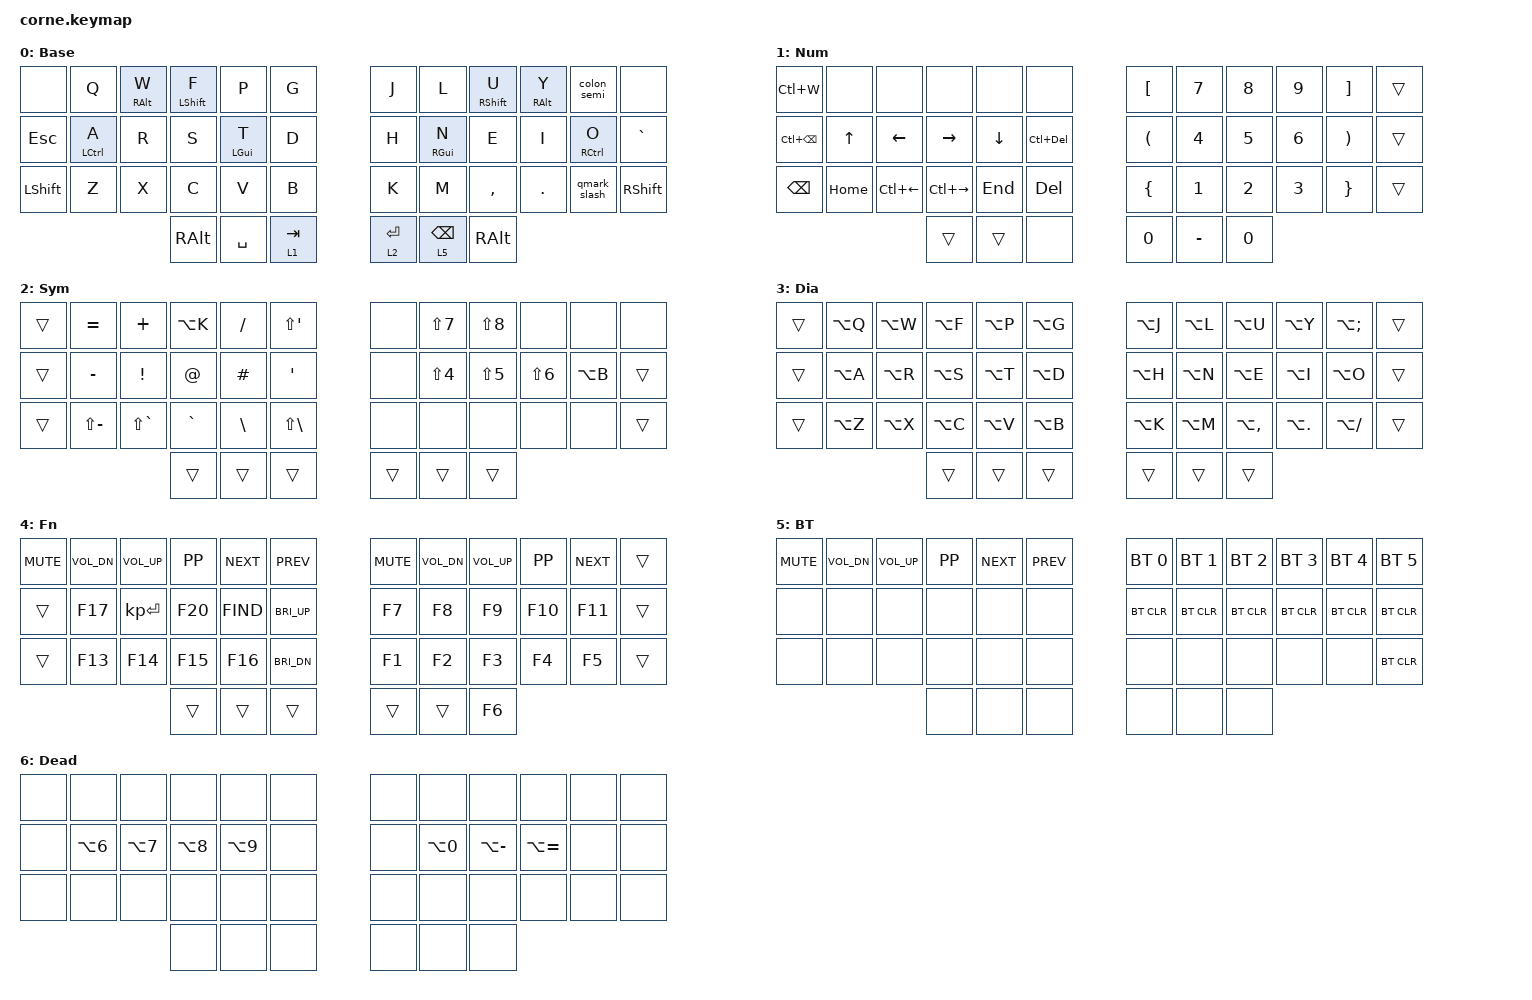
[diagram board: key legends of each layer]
/*
 * Corne Keymap v26
 * Layout: Colemak
 * Target: Android (Ctrl is primary, GUI is secondary)
 * Homerow mods: A=Ctrl, T=GUI | N=GUI, O=Ctrl
 * Top row mods: W=Alt, F=Shift | U=Shift, Y=Alt
 * Changes from v25: Moved Alt/Shift from homerow to top row
 */

#include <behaviors.dtsi>
#include <dt-bindings/zmk/keys.h>
#include <dt-bindings/zmk/bt.h>

/ {
    behaviors {
        hm: homerow_mods {
            compatible = "zmk,behavior-hold-tap";
            #binding-cells = <2>;
            tapping-term-ms = <280>;
            quick-tap-ms = <175>;
            require-prior-idle-ms = <150>;
            flavor = "tap-preferred";
            bindings = <&kp>, <&kp>;
        };

        // ? default, / with shift
        qmark_slash: qmark_slash {
            compatible = "zmk,behavior-mod-morph";
            #binding-cells = <0>;
            bindings = <&kp QMARK>, <&kp FSLH>;
            mods = <(MOD_LSFT|MOD_RSFT)>;
        };

        // : default, ; with shift
        colon_semi: colon_semi {
            compatible = "zmk,behavior-mod-morph";
            #binding-cells = <0>;
            bindings = <&kp COLON>, <&kp SEMI>;
            mods = <(MOD_LSFT|MOD_RSFT)>;
        };
    };

    combos {
        compatible = "zmk,combos";

        combo_delete {
            timeout-ms = <50>;
            key-positions = <20 14>;  // E + R (cross-hand)
            bindings = <&kp DEL>;
        };
        combo_caps_lock {
            timeout-ms = <50>;
            key-positions = <5 6>;    // G + J (inner index)
            bindings = <&kp CAPS>;
        };
        combo_bootloader {
            timeout-ms = <50>;
            key-positions = <0 11>;   // Corner keys
            bindings = <&bootloader>;
        };
        combo_caps_word {
            timeout-ms = <50>;
            key-positions = <16 19>;  // T + N (index fingers)
            bindings = <&caps_word>;
        };
    };

    keymap {
        compatible = "zmk,keymap";

        // Layer 0: Base (Colemak)
        // Homerow mods: A=Ctrl, T=GUI | N=GUI, O=Ctrl
        // Top row mods: W=Alt, F=Shift | U=Shift, Y=Alt
        base_layer {
            display-name = "Base";
            bindings = <
   &none      &kp Q  &hm RALT W  &hm LSHFT F  &kp P  &kp G      &kp J  &kp L  &hm RSHFT U  &hm RALT Y  &colon_semi  &none
   &kp ESC    &hm LCTRL A  &kp R  &kp S  &hm LGUI T  &kp D      &kp H  &hm RGUI N  &kp E  &kp I  &hm RCTRL O  &kp GRAVE
   &kp LSHFT  &kp Z  &kp X  &kp C  &kp V  &kp B      &kp K  &kp M  &kp COMMA  &kp DOT  &qmark_slash  &kp RSHFT
                     &kp RALT  &kp SPACE  &lt 1 TAB  &lt 2 RET  &lt 5 BSPC  &kp RALT
            >;
        };

        // Layer 1: Numbers + Navigation
        // Navigation uses LG for word-jumping (Cmd on macOS)
        num_layer {
            display-name = "Num";
            bindings = <
   &kp LC(W)    &none       &none        &none         &none         &none       &kp LBKT   &kp N7  &kp N8  &kp N9  &kp RBKT   &trans
   &kp LC(BSPC) &kp UP      &kp LEFT     &kp RIGHT     &kp DOWN      &kp LC(DEL) &kp LPAR   &kp N4  &kp N5  &kp N6  &kp RPAR   &trans
   &kp BSPC     &kp HOME    &kp LC(LEFT) &kp LC(RIGHT) &kp END       &kp DEL     &kp LBRC   &kp N1  &kp N2  &kp N3  &kp RBRC   &trans
                                      &trans        &trans        &none       &kp N0     &kp MINUS  &kp N0
            >;
        };

        // Layer 2: Symbols
        sym_layer {
            display-name = "Sym";
            bindings = <
   &trans  &kp EQUAL  &kp PLUS   &kp LA(K)  &kp FSLH      &kp LS(SQT)   &none     &kp LS(N7)  &kp LS(N8)  &none      &none      &none
   &trans  &kp MINUS  &kp EXCL   &kp AT     &kp HASH      &kp SQT       &none     &kp LS(N4)  &kp LS(N5)  &kp LS(N6) &kp LA(B)  &trans
   &trans  &kp LS(MINUS) &kp LS(GRAVE) &kp GRAVE &kp BSLH  &kp LS(BSLH)  &none     &none       &none       &none      &none      &trans
                                 &trans     &trans        &trans        &trans    &trans      &trans
            >;
        };

        // Layer 3: Diacritics (accessed via right ALT thumb)
        // Sends LALT+key for macOS keylayout
        diacritics_layer {
            display-name = "Dia";
            bindings = <
   &trans  &kp LA(Q)  &kp LA(W)  &kp LA(F)  &kp LA(P)  &kp LA(G)      &kp LA(J)  &kp LA(L)  &kp LA(U)      &kp LA(Y)    &kp LA(SEMI)  &trans
   &trans  &kp LA(A)  &kp LA(R)  &kp LA(S)  &kp LA(T)  &kp LA(D)      &kp LA(H)  &kp LA(N)  &kp LA(E)      &kp LA(I)    &kp LA(O)     &trans
   &trans  &kp LA(Z)  &kp LA(X)  &kp LA(C)  &kp LA(V)  &kp LA(B)      &kp LA(K)  &kp LA(M)  &kp LA(COMMA)  &kp LA(DOT)  &kp LA(FSLH)  &trans
                                 &trans     &trans     &trans         &trans     &trans     &trans
            >;
        };

        // Layer 4: Function Keys + Media
        fn_layer {
            display-name = "Fn";
            bindings = <
   &kp K_MUTE  &kp K_VOL_DN  &kp K_VOL_UP  &kp K_PP    &kp K_NEXT  &kp K_PREV   &kp K_MUTE  &kp K_VOL_DN  &kp K_VOL_UP  &kp K_PP   &kp K_NEXT &trans
   &trans      &kp F17       &kp KP_ENTER  &kp F20     &kp K_FIND  &kp C_BRI_UP &kp F7      &kp F8        &kp F9        &kp F10    &kp F11    &trans
   &trans      &kp F13       &kp F14       &kp F15     &kp F16     &kp C_BRI_DN &kp F1      &kp F2        &kp F3        &kp F4     &kp F5     &trans
                                           &trans      &trans      &trans       &trans      &trans        &kp F6
            >;
        };

        // Layer 5: Bluetooth + Media (hold BSPC)
        // Left: Media | Right: BT profiles
        bt_layer {
            display-name = "BT";
            bindings = <
   &kp K_MUTE  &kp K_VOL_DN  &kp K_VOL_UP  &kp K_PP  &kp K_NEXT  &kp K_PREV   &bt BT_SEL 0  &bt BT_SEL 1   &bt BT_SEL 2   &bt BT_SEL 3   &bt BT_SEL 4   &bt BT_SEL 5
   &none       &none         &none         &none     &none       &none        &bt BT_CLR    &bt BT_CLR     &bt BT_CLR     &bt BT_CLR     &bt BT_CLR     &bt BT_CLR
   &none       &none         &none         &none     &none       &none        &none         &none          &none          &none          &none          &bt BT_CLR
                         &none  &none  &none      &none         &none          &none
            >;
        };

        // Layer 6: Dead Keys (C+V combo)
        deadkey_layer {
            display-name = "Dead";
            bindings = <
   &none   &none         &none         &none        &none        &none         &none        &none         &none         &none         &none         &none
   &none   &kp LA(N6)    &kp LA(N7)    &kp LA(N8)   &kp LA(N9)   &none         &none        &kp LA(N0)    &kp LA(MINUS) &kp LA(EQUAL) &none         &none
   &none   &none         &none         &none        &none        &none         &none        &none         &none         &none         &none         &none
                                       &none        &none        &none         &none        &none         &none
            >;
            // Home row: Macron(6) Circumflex(7) Umlaut(8) Caron(9) | Breve(0) Acute(-) Cedilla(=)
        };

        extra7 { status = "reserved"; };
        extra8 { status = "reserved"; };
        extra9 { status = "reserved"; };
    };
};

// Caps word configuration
&caps_word {
    continue-list = <UNDERSCORE MINUS BACKSPACE DELETE>;
};
